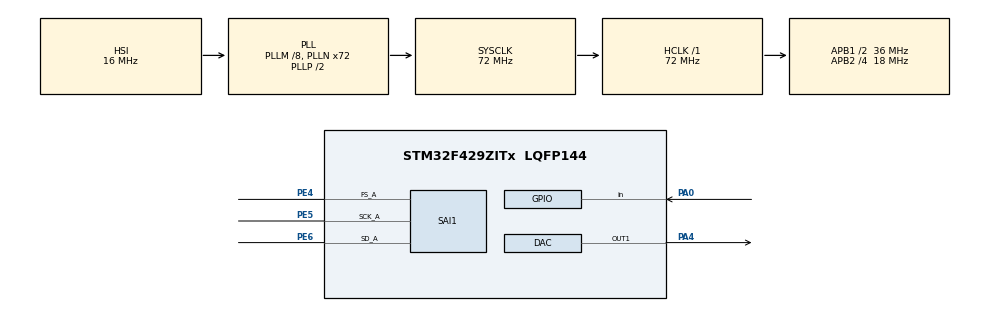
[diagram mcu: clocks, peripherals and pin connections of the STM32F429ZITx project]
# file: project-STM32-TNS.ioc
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DAC.DAC_Trigger=DAC_TRIGGER_T2_TRGO
Dma.DAC1.0.Direction=DMA_MEMORY_TO_PERIPH
Dma.DAC1.0.FIFOMode=DMA_FIFOMODE_DISABLE
Dma.DAC1.0.Instance=DMA1_Stream5
Dma.DAC1.0.MemDataAlignment=DMA_MDATAALIGN_HALFWORD
Dma.DAC1.0.MemInc=DMA_MINC_ENABLE
Dma.DAC1.0.Mode=DMA_CIRCULAR
Dma.DAC1.0.PeriphDataAlignment=DMA_PDATAALIGN_HALFWORD
Dma.DAC1.0.PeriphInc=DMA_PINC_DISABLE
Dma.DAC1.0.Priority=DMA_PRIORITY_LOW
Dma.Request0=DAC1
Dma.Request1=SAI1_A
Dma.SAI1_A.1.Direction=DMA_PERIPH_TO_MEMORY
Dma.SAI1_A.1.FIFOMode=DMA_FIFOMODE_DISABLE
Dma.SAI1_A.1.Instance=DMA2_Stream1
Dma.SAI1_A.1.MemDataAlignment=DMA_MDATAALIGN_HALFWORD
Dma.SAI1_A.1.MemInc=DMA_MINC_ENABLE
Dma.SAI1_A.1.Mode=DMA_CIRCULAR
Dma.SAI1_A.1.PeriphDataAlignment=DMA_PDATAALIGN_HALFWORD
Dma.SAI1_A.1.PeriphInc=DMA_PINC_DISABLE
Dma.SAI1_A.1.Priority=DMA_PRIORITY_LOW
Mcu.Family=STM32F4
Mcu.Name=STM32F429ZITx
Mcu.Package=LQFP144
NVIC.DMA1_Stream5_IRQn=true\:0\:0\:false\:false\:true\:false\:true\:true
NVIC.DMA2_Stream1_IRQn=true\:0\:0\:false\:false\:true\:false\:true\:true
NVIC.PriorityGroup=NVIC_PRIORITYGROUP_0
PA0/WKUP.Signal=GPIO_Input
PA4.Signal=COMP_DAC1_group
PE4.Mode=SAI_A_Master
PE4.Signal=SAI1_FS_A
PE5.Mode=SAI_A_Master
PE5.Signal=SAI1_SCK_A
PE6.Mode=SAI_A_Master
PE6.Signal=SAI1_SD_A
ProjectManager.HeapSize=0x200
ProjectManager.StackSize=0x400
ProjectManager.TargetToolchain=STM32CubeIDE
RCC.48MHZClocksFreq_Value=20571428.57142857
RCC.AHBFreq_Value=72000000
RCC.APB1CLKDivider=RCC_HCLK_DIV2
RCC.APB1Freq_Value=36000000
RCC.APB1TimFreq_Value=72000000
RCC.APB2CLKDivider=RCC_HCLK_DIV4
RCC.APB2Freq_Value=18000000
RCC.APB2TimFreq_Value=36000000
RCC.CortexFreq_Value=72000000
RCC.HCLKFreq_Value=72000000
RCC.HSE_VALUE=8000000
RCC.HSI_VALUE=16000000
RCC.LSE_VALUE=32768
RCC.PLLM=8
RCC.PLLN=72
RCC.PLLQ=7
RCC.PLLSAIDivQ=25
RCC.PLLSAIN=192
RCC.PLLSAIQ=5
RCC.SYSCLKFreq_VALUE=72000000
RCC.SYSCLKSource=RCC_SYSCLKSOURCE_PLLCLK
RCC.VCOOutputFreq_Value=144000000
SAI1.ActiveFrameLength-SAI_A_Master=32
SAI1.AudioFrequency-SAI_A_Master=SAI_AUDIO_FREQUENCY_48K
SAI1.AudioMode-SAI_A_Master=SAI_MODEMASTER_RX
SAI1.DataSize-SAI_A_Master=SAI_DATASIZE_8
SAI1.ErrorAudioFreq-SAI_A_Master=-75.0 %
SAI1.FSDefinition-SAI_A_Master=SAI_FS_CHANNEL_IDENTIFICATION
SAI1.FrameLength-SAI_A_Master=64
SAI1.Instance-SAI_A_Master=SAI$Index_Block_A
SAI1.MClockEnable-SAI_A_Master=SAI_MASTERCLOCK_DISABLE
SAI1.NoDivider-SAI_A_Master=SAI_MASTERDIVIDER_DISABLE
SAI1.RealAudioFreq-SAI_A_Master=12.0 KHz
SAI1.SlotActive-SAI_A_Master=0x0000FFFF
SAI1.SlotNumber-SAI_A_Master=4
SAI1.Synchro_A=SAI_ASYNCHRONOUS
SAI1.VirtualMode-SAI_A_Master=VM_MASTER
SAI1.VirtualSlotActive-SAI_A_Master=SAI_SLOTACTIVE_ALL
SH.COMP_DAC1_group.0=DAC_OUT1,DAC_OUT1
TIM2.Period=800
TIM2.Prescaler=0
TIM2.TIM_MasterOutputTrigger=TIM_TRGO_UPDATE
VP_TIM2_VS_ClockSourceINT.Mode=Internal
board=STM32F429I-DISC1

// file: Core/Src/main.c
/* USER CODE BEGIN Header */
/**
  ******************************************************************************
  * @file           : main.c
  * @brief          : Main program body
  ******************************************************************************
  * @attention
  *
  * Copyright (c) 2023 STMicroelectronics.
  * All rights reserved.
  *
  * This software is licensed under terms that can be found in the LICENSE file
  * in the root directory of this software component.
  * If no LICENSE file comes with this software, it is provided AS-IS.
  *
  ******************************************************************************
  */
/* USER CODE END Header */
#include "main.h"

/* USER CODE BEGIN Includes */
#include <stdio.h>
#include <math.h>
/* USER CODE END Includes */

/* USER CODE BEGIN PD */
#define PDM_SAMPLING_RATE 3072000
#define PCM_SAMPLING_RATE 48000

#define PDM_FRAME_LENGHT 64
#define PDM_DATA_SIZE 8
#define PDM_NB_SAMBLE_BY_FRAME PDM_FRAME_LENGHT/PDM_DATA_SIZE

#define NB_SEC_OUTPUT 1
#define PCM_NB_SAMPLE (NB_SEC_OUTPUT*PCM_SAMPLING_RATE)

#define NB_FRAME_IN_PDM_BUFFERSIZE 20
#define PDM_BUFFERSIZE PDM_NB_SAMBLE_BY_FRAME*NB_FRAME_IN_PDM_BUFFERSIZE

#define FILTER_CUTOFF_FREQUENCY 6000
#define FILTER_SAMPLING_FREQUENCY 48000
#define FILTER_NB_COEF 64

#define GAIN 80
/* USER CODE END PD */

DAC_HandleTypeDef hdac;
DMA_HandleTypeDef hdma_dac1;

SAI_HandleTypeDef hsai_BlockA1;
DMA_HandleTypeDef hdma_sai1_a;

TIM_HandleTypeDef htim2;

/* USER CODE BEGIN PV */
int cplt = 0;
int half = 0;
int pcmDataIndex = 0;
/* USER CODE END PV */

void SystemClock_Config(void);
static void MX_GPIO_Init(void);
static void MX_DMA_Init(void);
static void MX_DAC_Init(void);
static void MX_SAI1_Init(void);
static void MX_TIM2_Init(void);
/* USER CODE BEGIN PFP */

void pdm2pcm(uint8_t* pdmBuffer, uint32_t* pcmData){
	uint64_t* pdmFrameBuffer = pdmBuffer;

	for (int frameNbr=0; frameNbr<NB_FRAME_IN_PDM_BUFFERSIZE/2; frameNbr++){
		pcmData[pcmDataIndex++] = (uint32_t)__builtin_popcount(pdmFrameBuffer[frameNbr]);
	}
}

void calcFIR(float* FIRcoef, int nbCoef, float fc, float fe){
    float normalizedFc = 2.0f * PI * fc / fe;
    float sinc, hamming;
    for (int coefN = 0; coefN < nbCoef; coefN++) {
        if (coefN == (nbCoef-1)/2) {
        	FIRcoef[coefN] = normalizedFc / PI;
        } else {
            sinc = sinf(normalizedFc * (coefN - (nbCoef-1)/2)) / (PI * (coefN - (nbCoef-1)/2));
            hamming = 0.54f - 0.46f * cosf(2.0f * PI * coefN / (nbCoef-1));
            FIRcoef[coefN] = sinc * hamming;
        }
    }
}

void FIR(float* FIRcoef, int nbCoef, uint8_t* pcmData){
	for (int pcmIndex = 0; pcmIndex < PCM_NB_SAMPLE; pcmIndex++){
		float sum = 0;
		for(int nCoef = nbCoef; nCoef < nbCoef; nCoef++){
			sum += pcmData[pcmIndex+nCoef] * FIRcoef[nCoef];
		}
		pcmData[pcmIndex] = (uint32_t)sum;
	}
}
/* USER CODE END PFP */

int main(void)
{
  /* USER CODE BEGIN 1 */
	uint8_t pdmBuffer[PDM_BUFFERSIZE];
	uint32_t pcmData[PCM_NB_SAMPLE];
  /* USER CODE END 1 */

  /* MCU Configuration--------------------------------------------------------*/

  /* Reset of all peripherals, Initializes the Flash interface and the Systick. */
  HAL_Init();

  /* Configure the system clock */
  SystemClock_Config();

  /* Initialize all configured peripherals */
  MX_GPIO_Init();
  MX_DMA_Init();
  MX_DAC_Init();
  MX_SAI1_Init();
  MX_TIM2_Init();
  /* USER CODE BEGIN 2 */

  int recording = 1;

  HAL_SAI_Receive_DMA(&hsai_BlockA1, (uint8_t *)pdmBuffer, PDM_BUFFERSIZE/2);
  HAL_TIM_Base_Start(&htim2);

  while (recording){
	  if(half){
              half = 0;
              pdm2pcm((uint8_t*)(pdmBuffer+cplt*(PDM_BUFFERSIZE/2)), pcmData);

              if(pcmDataIndex >= PCM_NB_SAMPLE){
                recording = 0;
                HAL_SAI_DMAStop(&hsai_BlockA1);
              }
	  	  }
  }

  float FIRcoef[FILTER_NB_COEF];
	calcFIR(FIRcoef, FILTER_NB_COEF, FILTER_CUTOFF_FREQUENCY, FILTER_SAMPLING_FREQUENCY);
	FIR(FIRcoef, FILTER_NB_COEF, pcmData);

  for (int i = 0; i < PCM_NB_SAMPLE; i++){
 	  pcmData[i] = pcmData[i] * GAIN;
   }
  /* USER CODE END 2 */

  /* Infinite loop */
  /* USER CODE BEGIN WHILE */
  while (1)
  {
	  if (HAL_GPIO_ReadPin(GPIOA, GPIO_PIN_0)){
		  HAL_DAC_Start_DMA(&hdac, DAC_CHANNEL_1, (uint32_t*)pcmData, PCM_NB_SAMPLE, DAC_ALIGN_12B_R);
		  HAL_Delay(NB_SEC_OUTPUT*1000);
		  HAL_DAC_Stop_DMA(&hdac, DAC_CHANNEL_1);
	  }
	  HAL_Delay(500);
    /* USER CODE END WHILE */

  }
}

void SystemClock_Config(void)
{
  RCC_OscInitTypeDef RCC_OscInitStruct = {0};
  RCC_ClkInitTypeDef RCC_ClkInitStruct = {0};

  /** Macro to configure SAI1BlockA clock source selection
  */
  __HAL_RCC_SAI_BLOCKACLKSOURCE_CONFIG(SAI_CLKSOURCE_PLLSAI);

  /** Configure the main internal regulator output voltage
  */
  __HAL_RCC_PWR_CLK_ENABLE();
  __HAL_PWR_VOLTAGESCALING_CONFIG(PWR_REGULATOR_VOLTAGE_SCALE3);

  /** Initializes the RCC Oscillators according to the specified parameters
  * in the RCC_OscInitTypeDef structure.
  */
  RCC_OscInitStruct.OscillatorType = RCC_OSCILLATORTYPE_HSI;
  RCC_OscInitStruct.HSIState = RCC_HSI_ON;
  RCC_OscInitStruct.HSICalibrationValue = RCC_HSICALIBRATION_DEFAULT;
  RCC_OscInitStruct.PLL.PLLState = RCC_PLL_ON;
  RCC_OscInitStruct.PLL.PLLSource = RCC_PLLSOURCE_HSI;
  RCC_OscInitStruct.PLL.PLLM = 8;
  RCC_OscInitStruct.PLL.PLLN = 72;
  RCC_OscInitStruct.PLL.PLLP = RCC_PLLP_DIV2;
  RCC_OscInitStruct.PLL.PLLQ = 7;
  if (HAL_RCC_OscConfig(&RCC_OscInitStruct) != HAL_OK)
  {
    Error_Handler();
  }

  /** Initializes the CPU, AHB and APB buses clocks
  */
  RCC_ClkInitStruct.ClockType = RCC_CLOCKTYPE_HCLK|RCC_CLOCKTYPE_SYSCLK
                              |RCC_CLOCKTYPE_PCLK1|RCC_CLOCKTYPE_PCLK2;
  RCC_ClkInitStruct.SYSCLKSource = RCC_SYSCLKSOURCE_PLLCLK;
  RCC_ClkInitStruct.AHBCLKDivider = RCC_SYSCLK_DIV1;
  RCC_ClkInitStruct.APB1CLKDivider = RCC_HCLK_DIV2;
  RCC_ClkInitStruct.APB2CLKDivider = RCC_HCLK_DIV4;

  if (HAL_RCC_ClockConfig(&RCC_ClkInitStruct, FLASH_LATENCY_2) != HAL_OK)
  {
    Error_Handler();
  }
}

static void MX_DAC_Init(void)
{

  DAC_ChannelConfTypeDef sConfig = {0};

  /** DAC Initialization
  */
  hdac.Instance = DAC;
  if (HAL_DAC_Init(&hdac) != HAL_OK)
  {
    Error_Handler();
  }

  /** DAC channel OUT1 config
  */
  sConfig.DAC_Trigger = DAC_TRIGGER_T2_TRGO;
  sConfig.DAC_OutputBuffer = DAC_OUTPUTBUFFER_ENABLE;
  if (HAL_DAC_ConfigChannel(&hdac, &sConfig, DAC_CHANNEL_1) != HAL_OK)
  {
    Error_Handler();
  }

}

static void MX_SAI1_Init(void)
{

  hsai_BlockA1.Instance = SAI1_Block_A;
  hsai_BlockA1.Init.Protocol = SAI_FREE_PROTOCOL;
  hsai_BlockA1.Init.AudioMode = SAI_MODEMASTER_RX;
  hsai_BlockA1.Init.DataSize = SAI_DATASIZE_8;
  hsai_BlockA1.Init.FirstBit = SAI_FIRSTBIT_MSB;
  hsai_BlockA1.Init.ClockStrobing = SAI_CLOCKSTROBING_FALLINGEDGE;
  hsai_BlockA1.Init.Synchro = SAI_ASYNCHRONOUS;
  hsai_BlockA1.Init.OutputDrive = SAI_OUTPUTDRIVE_DISABLE;
  hsai_BlockA1.Init.NoDivider = SAI_MASTERDIVIDER_DISABLE;
  hsai_BlockA1.Init.FIFOThreshold = SAI_FIFOTHRESHOLD_EMPTY;
  hsai_BlockA1.Init.ClockSource = SAI_CLKSOURCE_PLLSAI;
  hsai_BlockA1.Init.AudioFrequency = SAI_AUDIO_FREQUENCY_48K;
  hsai_BlockA1.FrameInit.FrameLength = 64;
  hsai_BlockA1.FrameInit.ActiveFrameLength = 32;
  hsai_BlockA1.FrameInit.FSDefinition = SAI_FS_CHANNEL_IDENTIFICATION;
  hsai_BlockA1.FrameInit.FSPolarity = SAI_FS_ACTIVE_LOW;
  hsai_BlockA1.FrameInit.FSOffset = SAI_FS_FIRSTBIT;
  hsai_BlockA1.SlotInit.FirstBitOffset = 0;
  hsai_BlockA1.SlotInit.SlotSize = SAI_SLOTSIZE_DATASIZE;
  hsai_BlockA1.SlotInit.SlotNumber = 4;
  hsai_BlockA1.SlotInit.SlotActive = 0x0000FFFF;
  if (HAL_SAI_Init(&hsai_BlockA1) != HAL_OK)
  {
    Error_Handler();
  }

}

static void MX_TIM2_Init(void)
{

  TIM_ClockConfigTypeDef sClockSourceConfig = {0};
  TIM_MasterConfigTypeDef sMasterConfig = {0};

  htim2.Instance = TIM2;
  htim2.Init.Prescaler = 0;
  htim2.Init.CounterMode = TIM_COUNTERMODE_UP;
  htim2.Init.Period = 800;
  htim2.Init.ClockDivision = TIM_CLOCKDIVISION_DIV1;
  htim2.Init.AutoReloadPreload = TIM_AUTORELOAD_PRELOAD_DISABLE;
  if (HAL_TIM_Base_Init(&htim2) != HAL_OK)
  {
    Error_Handler();
  }
  sClockSourceConfig.ClockSource = TIM_CLOCKSOURCE_INTERNAL;
  if (HAL_TIM_ConfigClockSource(&htim2, &sClockSourceConfig) != HAL_OK)
  {
    Error_Handler();
  }
  sMasterConfig.MasterOutputTrigger = TIM_TRGO_UPDATE;
  sMasterConfig.MasterSlaveMode = TIM_MASTERSLAVEMODE_DISABLE;
  if (HAL_TIMEx_MasterConfigSynchronization(&htim2, &sMasterConfig) != HAL_OK)
  {
    Error_Handler();
  }

}

static void MX_DMA_Init(void)
{

  /* DMA controller clock enable */
  __HAL_RCC_DMA1_CLK_ENABLE();
  __HAL_RCC_DMA2_CLK_ENABLE();

  /* DMA interrupt init */
  /* DMA1_Stream5_IRQn interrupt configuration */
  HAL_NVIC_SetPriority(DMA1_Stream5_IRQn, 0, 0);
  HAL_NVIC_EnableIRQ(DMA1_Stream5_IRQn);
  /* DMA2_Stream1_IRQn interrupt configuration */
  HAL_NVIC_SetPriority(DMA2_Stream1_IRQn, 0, 0);
  HAL_NVIC_EnableIRQ(DMA2_Stream1_IRQn);

}

static void MX_GPIO_Init(void)
{
  GPIO_InitTypeDef GPIO_InitStruct = {0};

  /* GPIO Ports Clock Enable */
  __HAL_RCC_GPIOE_CLK_ENABLE();
  __HAL_RCC_GPIOA_CLK_ENABLE();

  /*Configure GPIO pin : PA0 */
  GPIO_InitStruct.Pin = GPIO_PIN_0;
  GPIO_InitStruct.Mode = GPIO_MODE_INPUT;
  GPIO_InitStruct.Pull = GPIO_NOPULL;
  HAL_GPIO_Init(GPIOA, &GPIO_InitStruct);

}

/* USER CODE BEGIN 4 */
void HAL_SAI_RxCpltCallback(SAI_HandleTypeDef *hsai){
	cplt = 1;
  half = 1;
}

void HAL_SAI_RxHalfCpltCallback(SAI_HandleTypeDef *hsai){
  cplt = 0;
	half = 1;
}
/* USER CODE END 4 */

void Error_Handler(void)
{
  __disable_irq();
  while (1)
  {
  }
}
